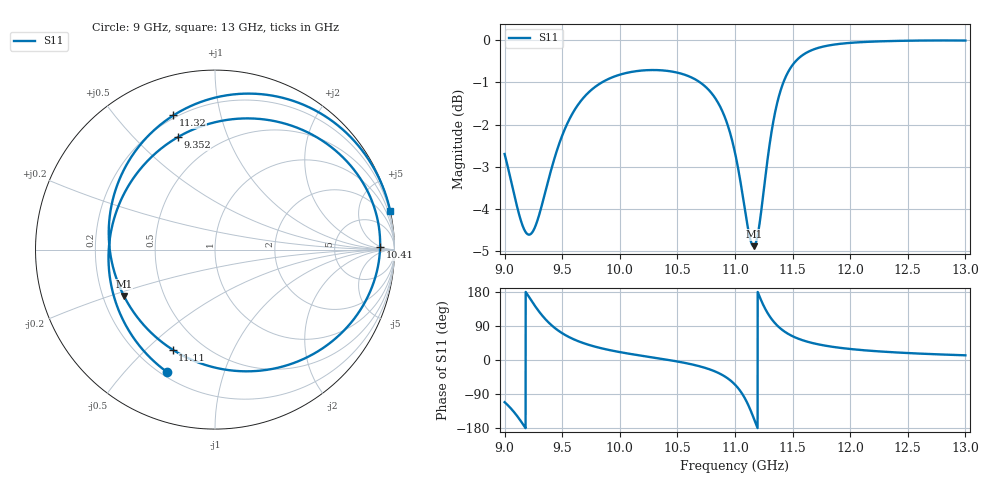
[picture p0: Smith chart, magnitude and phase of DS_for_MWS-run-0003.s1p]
! TOUCHSTONE file generated by CST DESIGN STUDIO
! Date and time: Tue Feb  4 17:41:35 2025
! Project name: C:\Work\MatlabApps\UnitCellOptimizationMatlab\CST\unitcell.cst
! Tree item: Tasks\Sweep1\SPara1\S-Parameters
! Header version: 2024
! Port assignment regex: !\s*Touchstone port\s*([0-9]+)\s*=\s*(CST MWS port|CST DES external port|CST DES block port)\s*(.+)\s* \(\"(.*)\"\)(\s*mode\s*([0-9]+))?.*
! Touchstone port assignment:
! Touchstone port 1 = CST DES external port 1 ("")
# GHz S MA R 50
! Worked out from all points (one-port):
!   4001 points, 9 GHz to 13 GHz, reference 50 ohm
!   lowest |S11| = -4.9 dB at 11.16 GHz (marker M1), VSWR 3.65, Z = 14.4 - j11.1 ohm
!   |S11| at or under -10 dB: nowhere
!   S11 on the Smith chart (normalised r, x): 9 GHz: 0.22, -0.66; 9.352 GHz: 0.31, +0.68; 10.41 GHz: 23, +4; 11.11 GHz: 0.34, -0.61; 11.32 GHz: 0.19, +0.72; 13 GHz: 0.03, +9.22
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9  0.7329 -111.3
9.079  0.6597 -136.4
9.18  0.5927 -178.9
9.255  0.5963 146.4
9.352  0.6595 108.4
9.42  0.7143 88.4
9.5  0.7708 70.7
9.711  0.8624 41.8
10  0.9103 20.8
10.407  0.92 0.9
10.5  0.9154 -3.9
10.681  0.8943 -15.6
10.814  0.8593 -28.6
10.916  0.8077 -44.2
11  0.7354 -65.0
11.058  0.6657 -87.0
11.106  0.6054 -112.9
11.162  0.5696 -153.0
11.197  0.587 179.5
11.231  0.6321 154.7
11.277  0.7123 127.0
11.32  0.7829 107.2
11.393  0.8693 83.6
11.5  0.9349 62.7
11.694  0.9767 43.2
12  0.9931 29.1
12.5  0.9989 18.3
13  0.9994 12.4
